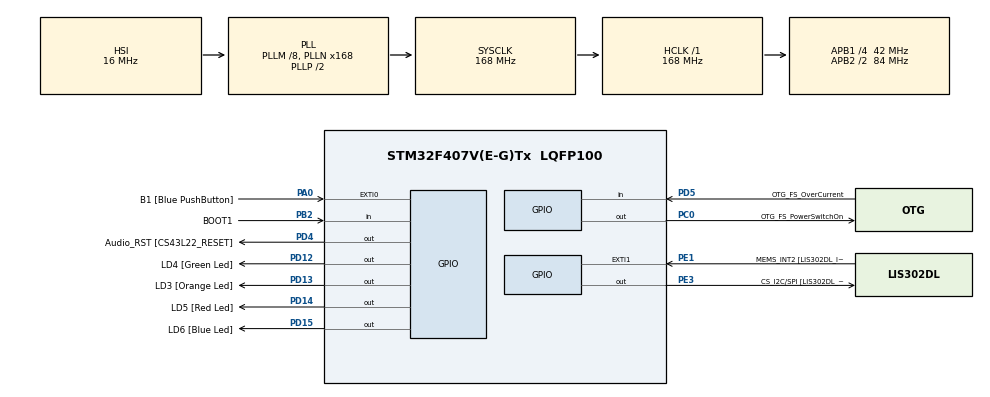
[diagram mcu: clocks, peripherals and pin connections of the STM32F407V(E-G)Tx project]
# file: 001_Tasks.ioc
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Mcu.Family=STM32F4
Mcu.Name=STM32F407V(E-G)Tx
Mcu.Package=LQFP100
NVIC.PriorityGroup=NVIC_PRIORITYGROUP_4
NVIC.TIM6_DAC_IRQn=true\:15\:0\:false\:false\:true\:false\:true\:true
NVIC.TimeBase=TIM6_DAC_IRQn
NVIC.TimeBaseIP=TIM6
PA0-WKUP.GPIO_Label=B1 [Blue PushButton]
PA0-WKUP.Signal=GPXTI0
PA10.GPIO_Label=OTG_FS_ID
PA10.GPIO_Mode=GPIO_MODE_AF_PP
PA10.GPIO_PuPd=GPIO_NOPULL
PA10.GPIO_Speed=GPIO_SPEED_FREQ_LOW
PA10.Signal=USB_OTG_FS_ID
PA11.GPIO_Label=OTG_FS_DM
PA11.GPIO_Mode=GPIO_MODE_AF_PP
PA11.GPIO_PuPd=GPIO_NOPULL
PA11.GPIO_Speed=GPIO_SPEED_FREQ_LOW
PA11.Signal=USB_OTG_FS_DM
PA12.GPIO_Label=OTG_FS_DP
PA12.GPIO_Mode=GPIO_MODE_AF_PP
PA12.GPIO_PuPd=GPIO_NOPULL
PA12.GPIO_Speed=GPIO_SPEED_FREQ_LOW
PA12.Signal=USB_OTG_FS_DP
PA13.GPIO_Label=SWDIO
PA13.Signal=SYS_JTMS-SWDIO
PA14.GPIO_Label=SWCLK
PA14.Signal=SYS_JTCK-SWCLK
PA4.GPIO_Label=I2S3_WS [CS43L22_LRCK]
PA4.GPIO_Mode=GPIO_MODE_AF_PP
PA4.GPIO_PuPd=GPIO_NOPULL
PA4.GPIO_Speed=GPIO_SPEED_FREQ_LOW
PA4.Signal=I2S3_WS
PA5.GPIO_Label=SPI1_SCK [LIS302DL_SCL/SPC]
PA5.GPIO_Mode=GPIO_MODE_AF_PP
PA5.GPIO_PuPd=GPIO_NOPULL
PA5.GPIO_Speed=GPIO_SPEED_FREQ_LOW
PA5.Signal=SPI1_SCK
PA6.GPIO_Label=SPI1_MISO [LIS302DL_SDO]
PA6.GPIO_Mode=GPIO_MODE_AF_PP
PA6.GPIO_PuPd=GPIO_NOPULL
PA6.GPIO_Speed=GPIO_SPEED_FREQ_LOW
PA6.Signal=SPI1_MISO
PA7.GPIO_Label=SPI1_MOSI [LIS302DL_SDA/SDI/SDO]
PA7.GPIO_Mode=GPIO_MODE_AF_PP
PA7.GPIO_PuPd=GPIO_NOPULL
PA7.GPIO_Speed=GPIO_SPEED_FREQ_LOW
PA7.Signal=SPI1_MOSI
PA9.GPIO_Label=VBUS_FS
PA9.GPIO_Mode=GPIO_MODE_INPUT
PA9.GPIO_PuPd=GPIO_NOPULL
PA9.Signal=USB_OTG_FS_VBUS
PB10.GPIO_Label=CLK_IN [MP45DT02_CLK]
PB10.GPIO_Mode=GPIO_MODE_AF_PP
PB10.GPIO_PuPd=GPIO_NOPULL
PB10.GPIO_Speed=GPIO_SPEED_FREQ_LOW
PB10.Signal=I2S2_CK
PB2.GPIO_Label=BOOT1
PB2.GPIO_Mode=GPIO_MODE_INPUT
PB2.GPIO_PuPd=GPIO_NOPULL
PB2.Signal=GPIO_Input
PB3.GPIO_Label=SWO
PB3.Signal=SYS_JTDO-SWO
PB6.GPIO_Label=Audio_SCL [CS43L22_SCL]
PB6.GPIO_Mode=GPIO_MODE_AF_OD
PB6.GPIO_PuPd=GPIO_NOPULL
PB6.GPIO_Speed=GPIO_SPEED_FREQ_LOW
PB6.Signal=I2C1_SCL
PB9.GPIO_Label=Audio_SDA [CS43L22_SDA]
PB9.GPIO_Mode=GPIO_MODE_AF_OD
PB9.GPIO_PuPd=GPIO_NOPULL
PB9.GPIO_Speed=GPIO_SPEED_FREQ_LOW
PB9.Signal=I2C1_SDA
PC0.GPIO_Label=OTG_FS_PowerSwitchOn
PC0.GPIO_PuPd=GPIO_NOPULL
PC0.GPIO_Speed=GPIO_SPEED_FREQ_LOW
PC0.PinState=GPIO_PIN_SET
PC0.Signal=GPIO_Output
PC10.GPIO_Label=I2S3_SCK [CS43L22_SCLK]
PC10.GPIO_Mode=GPIO_MODE_AF_PP
PC10.GPIO_PuPd=GPIO_NOPULL
PC10.GPIO_Speed=GPIO_SPEED_FREQ_LOW
PC10.Signal=I2S3_CK
PC12.GPIO_Label=I2S3_SD [CS43L22_SDIN]
PC12.GPIO_Mode=GPIO_MODE_AF_PP
PC12.GPIO_PuPd=GPIO_NOPULL
PC12.GPIO_Speed=GPIO_SPEED_FREQ_LOW
PC12.Signal=I2S3_SD
PC14-OSC32_IN.GPIO_Label=PC14-OSC32_IN
PC14-OSC32_IN.Signal=RCC_OSC32_IN
PC15-OSC32_OUT.GPIO_Label=PC15-OSC32_OUT
PC15-OSC32_OUT.Signal=RCC_OSC32_OUT
PC3.GPIO_Label=PDM_OUT [MP45DT02_DOUT]
PC3.GPIO_Mode=GPIO_MODE_AF_PP
PC3.GPIO_PuPd=GPIO_NOPULL
PC3.GPIO_Speed=GPIO_SPEED_FREQ_LOW
PC3.Signal=I2S2_SD
PC7.GPIO_Label=I2S3_MCK [CS43L22_MCLK]
PC7.GPIO_Mode=GPIO_MODE_AF_PP
PC7.GPIO_PuPd=GPIO_NOPULL
PC7.GPIO_Speed=GPIO_SPEED_FREQ_LOW
PC7.Signal=I2S3_MCK
PD12.GPIO_Label=LD4 [Green Led]
PD12.GPIO_PuPd=GPIO_NOPULL
PD12.GPIO_Speed=GPIO_SPEED_FREQ_LOW
PD12.Signal=GPIO_Output
PD13.GPIO_Label=LD3 [Orange Led]
PD13.GPIO_PuPd=GPIO_NOPULL
PD13.GPIO_Speed=GPIO_SPEED_FREQ_LOW
PD13.Signal=GPIO_Output
PD14.GPIO_Label=LD5 [Red Led]
PD14.GPIO_PuPd=GPIO_NOPULL
PD14.GPIO_Speed=GPIO_SPEED_FREQ_LOW
PD14.Signal=GPIO_Output
PD15.GPIO_Label=LD6 [Blue Led]
PD15.GPIO_PuPd=GPIO_NOPULL
PD15.GPIO_Speed=GPIO_SPEED_FREQ_LOW
PD15.Signal=GPIO_Output
PD4.GPIO_Label=Audio_RST [CS43L22_RESET]
PD4.GPIO_PuPd=GPIO_NOPULL
PD4.GPIO_Speed=GPIO_SPEED_FREQ_LOW
PD4.Signal=GPIO_Output
PD5.GPIO_Label=OTG_FS_OverCurrent
PD5.GPIO_Mode=GPIO_MODE_INPUT
PD5.GPIO_PuPd=GPIO_NOPULL
PD5.Signal=GPIO_Input
PE1.GPIO_Label=MEMS_INT2 [LIS302DL_INT2]
PE1.GPIO_ModeDefaultEXTI=GPIO_MODE_EVT_RISING
PE1.GPIO_PuPd=GPIO_NOPULL
PE1.Signal=GPXTI1
PE3.GPIO_Label=CS_I2C/SPI [LIS302DL_CS_I2C/SPI]
PE3.GPIO_PuPd=GPIO_NOPULL
PE3.GPIO_Speed=GPIO_SPEED_FREQ_LOW
PE3.Signal=GPIO_Output
PH0-OSC_IN.GPIO_Label=PH0-OSC_IN
PH0-OSC_IN.Signal=RCC_OSC_IN
PH1-OSC_OUT.GPIO_Label=PH1-OSC_OUT
PH1-OSC_OUT.Signal=RCC_OSC_OUT
ProjectManager.HeapSize=0x200
ProjectManager.StackSize=0x400
ProjectManager.TargetToolchain=STM32CubeIDE
RCC.48MHZClocksFreq_Value=48000000
RCC.AHBFreq_Value=168000000
RCC.APB1CLKDivider=RCC_HCLK_DIV4
RCC.APB1Freq_Value=42000000
RCC.APB1TimFreq_Value=84000000
RCC.APB2CLKDivider=RCC_HCLK_DIV2
RCC.APB2Freq_Value=84000000
RCC.APB2TimFreq_Value=168000000
RCC.CortexFreq_Value=168000000
RCC.HCLKFreq_Value=168000000
RCC.HSE_VALUE=8000000
RCC.HSI_VALUE=16000000
RCC.LSE_VALUE=32768
RCC.PLLM=8
RCC.PLLN=168
RCC.PLLQ=7
RCC.SYSCLKFreq_VALUE=168000000
RCC.SYSCLKSource=RCC_SYSCLKSOURCE_PLLCLK
RCC.VCOOutputFreq_Value=336000000
VP_SYS_VS_tim6.Mode=TIM6
board=STM32F407G-DISC1

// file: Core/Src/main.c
/* USER CODE BEGIN Header */
/**
  ******************************************************************************
  * @file           : main.c
  * @brief          : Main program body
  ******************************************************************************
  * @attention
  *
  * Copyright (c) 2024 STMicroelectronics.
  * All rights reserved.
  *
  * This software is licensed under terms that can be found in the LICENSE file
  * in the root directory of this software component.
  * If no LICENSE file comes with this software, it is provided AS-IS.
  *
  ******************************************************************************
  */
/* USER CODE END Header */
#include "main.h"

/* USER CODE BEGIN Includes */
/*
* This content is part of the udemy course Mastering RTOS: Hands on FreeRTOS and STM32Fx with Debugging
* 31. Exercise 001 Testing
* Link: https://luxoft.udemy.com/course/mastering-rtos-hands-on-with-freertos-arduino-and-stm32fx/learn/lecture/25682192#questions
*
* SB:
* - ne jucam cu task1 si task 2 printout, cu modul preemptive 1 si 0.
* - in cazul 1, ITM buffer, cel de print, e bombardat cu text din albele task uri
* - in cazul 2, preemptive = 0, fiindca taskurile se asteapta (coop mode), doar task 1 printeaza.
* Pentru a da drumul la procesor, folosim taskYIELD() in task 1 si 2, pentru a da release la CPU
* Rezultat:
	HelloWorldFromTask1
	HelloWorldFromTask2
	HelloWorldFromTask1
	HelloWorldFromTask2
	HelloWorldFromTask1
	HelloWorldFromTask2
*/
#include "FreeRTOS.h"
#include "task.h"
#include <stdio.h>
/* USER CODE END Includes */

/* USER CODE BEGIN PV */
#define DWT_CTRL (*(volatile uint32_t *)0xE0001000)
/* USER CODE END PV */

void SystemClock_Config(void);
static void MX_GPIO_Init(void);
/* USER CODE BEGIN PFP */
static void task1_handler(void* parameters);
static void task2_handler(void* parameters);

void SEGGER_UART_init(U32 baud);
/* USER CODE END PFP */

int main(void)
{

  /* USER CODE BEGIN 1 */
	TaskHandle_t task1_handle = NULL;
	TaskHandle_t task2_handle = NULL;
	BaseType_t Ret;
  /* USER CODE END 1 */

  /* MCU Configuration--------------------------------------------------------*/

  /* Reset of all peripherals, Initializes the Flash interface and the Systick. */
  HAL_Init();

  /* Configure the system clock */
  SystemClock_Config();

  /* Initialize all configured peripherals */
  MX_GPIO_Init();
  /* USER CODE BEGIN 2 */

    //Enable the cycle counting for Segger SysView tool
  	DWT_CTRL |= 1;

  	SEGGER_UART_init(500000);

  	SEGGER_SYSVIEW_Conf();

  	//SEGGER_SYSVIEW_Start(); 	//Commented because this command is done in the segger_uart_init()

	Ret = xTaskCreate(task1_handler, "task1", 200, "HelloWorldFromTask1", 2, &task1_handle);

	configASSERT(Ret == pdPASS);

	Ret = xTaskCreate(task2_handler, "task2", 200, "HelloWorldFromTask2", 2, &task2_handle);

	configASSERT(Ret == pdPASS);

	//start the freeRTOS scheduler
	vTaskStartScheduler();

	//if the control comes here, then the launch of the scheduler has failed due to insufficient memory in the heap

  /* USER CODE END 2 */

  /* Infinite loop */
  while (1)
  {

  }
}

void SystemClock_Config(void)
{
  RCC_OscInitTypeDef RCC_OscInitStruct = {0};
  RCC_ClkInitTypeDef RCC_ClkInitStruct = {0};

  /** Configure the main internal regulator output voltage
  */
  __HAL_RCC_PWR_CLK_ENABLE();
  __HAL_PWR_VOLTAGESCALING_CONFIG(PWR_REGULATOR_VOLTAGE_SCALE1);

  /** Initializes the RCC Oscillators according to the specified parameters
  * in the RCC_OscInitTypeDef structure.
  */
  RCC_OscInitStruct.OscillatorType = RCC_OSCILLATORTYPE_HSI;
  RCC_OscInitStruct.HSIState = RCC_HSI_ON;
  RCC_OscInitStruct.HSICalibrationValue = RCC_HSICALIBRATION_DEFAULT;
  RCC_OscInitStruct.PLL.PLLState = RCC_PLL_ON;
  RCC_OscInitStruct.PLL.PLLSource = RCC_PLLSOURCE_HSI;
  RCC_OscInitStruct.PLL.PLLM = 8;
  RCC_OscInitStruct.PLL.PLLN = 168;
  RCC_OscInitStruct.PLL.PLLP = RCC_PLLP_DIV2;
  RCC_OscInitStruct.PLL.PLLQ = 7;
  if (HAL_RCC_OscConfig(&RCC_OscInitStruct) != HAL_OK)
  {
    Error_Handler();
  }

  /** Initializes the CPU, AHB and APB buses clocks
  */
  RCC_ClkInitStruct.ClockType = RCC_CLOCKTYPE_HCLK|RCC_CLOCKTYPE_SYSCLK
                              |RCC_CLOCKTYPE_PCLK1|RCC_CLOCKTYPE_PCLK2;
  RCC_ClkInitStruct.SYSCLKSource = RCC_SYSCLKSOURCE_PLLCLK;
  RCC_ClkInitStruct.AHBCLKDivider = RCC_SYSCLK_DIV1;
  RCC_ClkInitStruct.APB1CLKDivider = RCC_HCLK_DIV4;
  RCC_ClkInitStruct.APB2CLKDivider = RCC_HCLK_DIV2;

  if (HAL_RCC_ClockConfig(&RCC_ClkInitStruct, FLASH_LATENCY_5) != HAL_OK)
  {
    Error_Handler();
  }
}

static void MX_GPIO_Init(void)
{
  GPIO_InitTypeDef GPIO_InitStruct = {0};

  /* GPIO Ports Clock Enable */
  __HAL_RCC_GPIOE_CLK_ENABLE();
  __HAL_RCC_GPIOC_CLK_ENABLE();
  __HAL_RCC_GPIOH_CLK_ENABLE();
  __HAL_RCC_GPIOA_CLK_ENABLE();
  __HAL_RCC_GPIOB_CLK_ENABLE();
  __HAL_RCC_GPIOD_CLK_ENABLE();

  /*Configure GPIO pin Output Level */
  HAL_GPIO_WritePin(CS_I2C_SPI_GPIO_Port, CS_I2C_SPI_Pin, GPIO_PIN_RESET);

  /*Configure GPIO pin Output Level */
  HAL_GPIO_WritePin(OTG_FS_PowerSwitchOn_GPIO_Port, OTG_FS_PowerSwitchOn_Pin, GPIO_PIN_SET);

  /*Configure GPIO pin Output Level */
  HAL_GPIO_WritePin(GPIOD, LD4_Pin|LD3_Pin|LD5_Pin|LD6_Pin
                          |Audio_RST_Pin, GPIO_PIN_RESET);

  /*Configure GPIO pin : CS_I2C_SPI_Pin */
  GPIO_InitStruct.Pin = CS_I2C_SPI_Pin;
  GPIO_InitStruct.Mode = GPIO_MODE_OUTPUT_PP;
  GPIO_InitStruct.Pull = GPIO_NOPULL;
  GPIO_InitStruct.Speed = GPIO_SPEED_FREQ_LOW;
  HAL_GPIO_Init(CS_I2C_SPI_GPIO_Port, &GPIO_InitStruct);

  /*Configure GPIO pin : OTG_FS_PowerSwitchOn_Pin */
  GPIO_InitStruct.Pin = OTG_FS_PowerSwitchOn_Pin;
  GPIO_InitStruct.Mode = GPIO_MODE_OUTPUT_PP;
  GPIO_InitStruct.Pull = GPIO_NOPULL;
  GPIO_InitStruct.Speed = GPIO_SPEED_FREQ_LOW;
  HAL_GPIO_Init(OTG_FS_PowerSwitchOn_GPIO_Port, &GPIO_InitStruct);

  /*Configure GPIO pin : PDM_OUT_Pin */
  GPIO_InitStruct.Pin = PDM_OUT_Pin;
  GPIO_InitStruct.Mode = GPIO_MODE_AF_PP;
  GPIO_InitStruct.Pull = GPIO_NOPULL;
  GPIO_InitStruct.Speed = GPIO_SPEED_FREQ_LOW;
  GPIO_InitStruct.Alternate = GPIO_AF5_SPI2;
  HAL_GPIO_Init(PDM_OUT_GPIO_Port, &GPIO_InitStruct);

  /*Configure GPIO pin : B1_Pin */
  GPIO_InitStruct.Pin = B1_Pin;
  GPIO_InitStruct.Mode = GPIO_MODE_IT_RISING;
  GPIO_InitStruct.Pull = GPIO_NOPULL;
  HAL_GPIO_Init(B1_GPIO_Port, &GPIO_InitStruct);

  /*Configure GPIO pin : I2S3_WS_Pin */
  GPIO_InitStruct.Pin = I2S3_WS_Pin;
  GPIO_InitStruct.Mode = GPIO_MODE_AF_PP;
  GPIO_InitStruct.Pull = GPIO_NOPULL;
  GPIO_InitStruct.Speed = GPIO_SPEED_FREQ_LOW;
  GPIO_InitStruct.Alternate = GPIO_AF6_SPI3;
  HAL_GPIO_Init(I2S3_WS_GPIO_Port, &GPIO_InitStruct);

  /*Configure GPIO pins : SPI1_SCK_Pin SPI1_MISO_Pin SPI1_MOSI_Pin */
  GPIO_InitStruct.Pin = SPI1_SCK_Pin|SPI1_MISO_Pin|SPI1_MOSI_Pin;
  GPIO_InitStruct.Mode = GPIO_MODE_AF_PP;
  GPIO_InitStruct.Pull = GPIO_NOPULL;
  GPIO_InitStruct.Speed = GPIO_SPEED_FREQ_LOW;
  GPIO_InitStruct.Alternate = GPIO_AF5_SPI1;
  HAL_GPIO_Init(GPIOA, &GPIO_InitStruct);

  /*Configure GPIO pin : BOOT1_Pin */
  GPIO_InitStruct.Pin = BOOT1_Pin;
  GPIO_InitStruct.Mode = GPIO_MODE_INPUT;
  GPIO_InitStruct.Pull = GPIO_NOPULL;
  HAL_GPIO_Init(BOOT1_GPIO_Port, &GPIO_InitStruct);

  /*Configure GPIO pin : CLK_IN_Pin */
  GPIO_InitStruct.Pin = CLK_IN_Pin;
  GPIO_InitStruct.Mode = GPIO_MODE_AF_PP;
  GPIO_InitStruct.Pull = GPIO_NOPULL;
  GPIO_InitStruct.Speed = GPIO_SPEED_FREQ_LOW;
  GPIO_InitStruct.Alternate = GPIO_AF5_SPI2;
  HAL_GPIO_Init(CLK_IN_GPIO_Port, &GPIO_InitStruct);

  /*Configure GPIO pins : LD4_Pin LD3_Pin LD5_Pin LD6_Pin
                           Audio_RST_Pin */
  GPIO_InitStruct.Pin = LD4_Pin|LD3_Pin|LD5_Pin|LD6_Pin
                          |Audio_RST_Pin;
  GPIO_InitStruct.Mode = GPIO_MODE_OUTPUT_PP;
  GPIO_InitStruct.Pull = GPIO_NOPULL;
  GPIO_InitStruct.Speed = GPIO_SPEED_FREQ_LOW;
  HAL_GPIO_Init(GPIOD, &GPIO_InitStruct);

  /*Configure GPIO pins : I2S3_MCK_Pin I2S3_SCK_Pin I2S3_SD_Pin */
  GPIO_InitStruct.Pin = I2S3_MCK_Pin|I2S3_SCK_Pin|I2S3_SD_Pin;
  GPIO_InitStruct.Mode = GPIO_MODE_AF_PP;
  GPIO_InitStruct.Pull = GPIO_NOPULL;
  GPIO_InitStruct.Speed = GPIO_SPEED_FREQ_LOW;
  GPIO_InitStruct.Alternate = GPIO_AF6_SPI3;
  HAL_GPIO_Init(GPIOC, &GPIO_InitStruct);

  /*Configure GPIO pin : VBUS_FS_Pin */
  GPIO_InitStruct.Pin = VBUS_FS_Pin;
  GPIO_InitStruct.Mode = GPIO_MODE_INPUT;
  GPIO_InitStruct.Pull = GPIO_NOPULL;
  HAL_GPIO_Init(VBUS_FS_GPIO_Port, &GPIO_InitStruct);

  /*Configure GPIO pins : OTG_FS_ID_Pin OTG_FS_DM_Pin OTG_FS_DP_Pin */
  GPIO_InitStruct.Pin = OTG_FS_ID_Pin|OTG_FS_DM_Pin|OTG_FS_DP_Pin;
  GPIO_InitStruct.Mode = GPIO_MODE_AF_PP;
  GPIO_InitStruct.Pull = GPIO_NOPULL;
  GPIO_InitStruct.Speed = GPIO_SPEED_FREQ_LOW;
  GPIO_InitStruct.Alternate = GPIO_AF10_OTG_FS;
  HAL_GPIO_Init(GPIOA, &GPIO_InitStruct);

  /*Configure GPIO pin : OTG_FS_OverCurrent_Pin */
  GPIO_InitStruct.Pin = OTG_FS_OverCurrent_Pin;
  GPIO_InitStruct.Mode = GPIO_MODE_INPUT;
  GPIO_InitStruct.Pull = GPIO_NOPULL;
  HAL_GPIO_Init(OTG_FS_OverCurrent_GPIO_Port, &GPIO_InitStruct);

  /*Configure GPIO pins : Audio_SCL_Pin Audio_SDA_Pin */
  GPIO_InitStruct.Pin = Audio_SCL_Pin|Audio_SDA_Pin;
  GPIO_InitStruct.Mode = GPIO_MODE_AF_OD;
  GPIO_InitStruct.Pull = GPIO_NOPULL;
  GPIO_InitStruct.Speed = GPIO_SPEED_FREQ_LOW;
  GPIO_InitStruct.Alternate = GPIO_AF4_I2C1;
  HAL_GPIO_Init(GPIOB, &GPIO_InitStruct);

  /*Configure GPIO pin : MEMS_INT2_Pin */
  GPIO_InitStruct.Pin = MEMS_INT2_Pin;
  GPIO_InitStruct.Mode = GPIO_MODE_EVT_RISING;
  GPIO_InitStruct.Pull = GPIO_NOPULL;
  HAL_GPIO_Init(MEMS_INT2_GPIO_Port, &GPIO_InitStruct);

}

/* USER CODE BEGIN 4 */

static void task1_handler(void* parameters)
{
	char msg[100];
	while(1)
	{
		/*
		 *  after segger patching of freeRTOS, the printf will no longer print on ITM, because _write funciton is declared (_weak_) in the syscall of the mcu and is overtaken by the SEGGER _write function
		 *  */

		//printf("%s\n", (char *)parameters);
		snprintf(msg, 100, "%s\n", (char *)parameters);
		SEGGER_SYSVIEW_PrintfTarget(msg);	//printf for segger logger
		taskYIELD();
	}
}

static void task2_handler(void* parameters)
{
	char msg[100];
	while(1)
	{
		/*
		 *  after segger patching of freeRTOS, the printf will no longer print on ITM, because _write funciton is declared (_weak_) in the syscall of the mcu and is overtaken by the SEGGER _write function
		 *  */
		//printf("%s\n", (char *)parameters);
		snprintf(msg, 100, "%s\n", (char *)parameters);
		SEGGER_SYSVIEW_PrintfTarget(msg);	//printf for segger logger -
		taskYIELD();
	}
}

/* USER CODE END 4 */

void HAL_TIM_PeriodElapsedCallback(TIM_HandleTypeDef *htim)
{
  if (htim->Instance == TIM6) {
    HAL_IncTick();
  }
}

void Error_Handler(void)
{
  __disable_irq();
  while (1)
  {
  }
}
